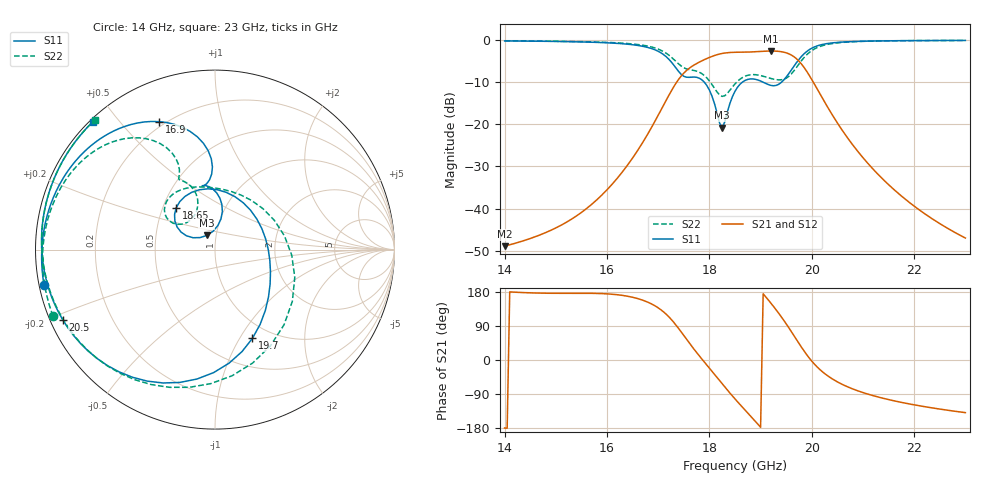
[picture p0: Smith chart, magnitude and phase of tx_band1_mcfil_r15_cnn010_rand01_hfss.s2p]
! Touchstone file exported from HFSS 3D Layout Design 2026.1.0
!  File:  D:/Work/SIM/ADS_AUTO_SIM/projects/RFSOC_RF/TX_Fillter.aedt
!  Generated:  12:47:32 AM Aug 31, 2026
!  Design:  TX_BAND1_MCFIL_R15_CNN010
!  Project:  TX_Fillter
# GHz S MA R 50.000000
! Terminal data exported
! Port[1] = Port1
! Port[2] = Port2
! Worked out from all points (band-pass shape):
!   181 points, 14 GHz to 23 GHz, reference 50 ohm
!   highest |S21| = -2.63 dB at 19.2 GHz (marker M1); lowest = -48.9 dB at 14 GHz (marker M2)
!   |S21| within 3 dB of the highest: 17.75 GHz to 19.79 GHz (2.046 GHz wide, 10.9 % of centre)
!   lowest |S11| = -20.8 dB at 18.25 GHz (marker M3), VSWR 1.20, Z = 45.2 + j7.21 ohm
!   |S11| at or under -10 dB: 17.9 GHz to 18.65 GHz (747.1 MHz wide, 4.09 % of centre); 19.04 GHz to 19.41 GHz (366.2 MHz wide, 1.9 % of centre)
!   |S22| runs from -13.4 to -0.1 dB; largest |S21 - S12| = 1.3e-14
!   S11 on the Smith chart (normalised r, x): 14 GHz: 0.01, -0.10; 16.9 GHz: 0.18, +0.64; 18.65 GHz: 0.59, +0.30; 19.7 GHz: 0.82, -1.14; 20.5 GHz: 0.04, -0.22; 23 GHz: 0.01, +0.43
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14  0.9728 -168.2  0.003584 -179.5  0.003584 -179.5  0.9754 -157.7
15.5  0.9462 162.2  0.008997 176.1  0.008997 176.1  0.9528 174.2
16.3  0.9006 139.8  0.02719 170.5  0.02719 170.5  0.9151 154.0
16.9  0.7785 113.7  0.09886 145.8  0.09886 145.8  0.8151 131.6
17  0.7329 107.9  0.1278 137.6  0.1278 137.6  0.7778 126.8
17.3  0.5064 92.3  0.2759 100.1  0.2759 100.1  0.591 114.0
17.6  0.3599 101.2  0.4583 46.1  0.4583 46.1  0.445 117.0
17.95  0.2879 84.6  0.6015 -13.4  0.6015 -13.4  0.3538 109.5
18.25  0.09101 119.6  0.6907 -62.8  0.6907 -62.8  0.214 128.6
18.5  0.246 149.2  0.7131 -102.7  0.7131 -102.7  0.301 147.8
18.65  0.3178 132.8  0.715 -125.3  0.715 -125.3  0.3593 141.7
18.95  0.3342 88.1  0.7268 -169.8  0.7268 -169.8  0.3833 119.5
19.2  0.2888 36.3  0.7384 150.2  0.7384 150.2  0.3489 95.8
19.45  0.3337 -22.1  0.7158 105.2  0.7158 105.2  0.3414 53.1
19.7  0.5365 -67.1  0.5986 54.1  0.5986 54.1  0.4708 -19.3
19.85  0.6853 -90.6  0.4705 23.5  0.4705 23.5  0.6188 -60.1
20  0.7975 -111.3  0.3384 -3.0  0.3384 -3.0  0.7474 -91.9
20.25  0.8941 -137.3  0.1837 -35.7  0.1837 -35.7  0.8689 -127.6
20.5  0.9341 -155.2  0.1035 -57.7  0.1035 -57.7  0.9219 -150.0
20.9  0.9608 -175.0  0.04753 -81.4  0.04753 -81.4  0.9567 -172.9
21.5  0.9758 165.2  0.01921 -104.5  0.01921 -104.5  0.975 165.5
23  0.9849 133.8  0.004474 -138.9  0.004474 -138.9  0.9848 133.0
